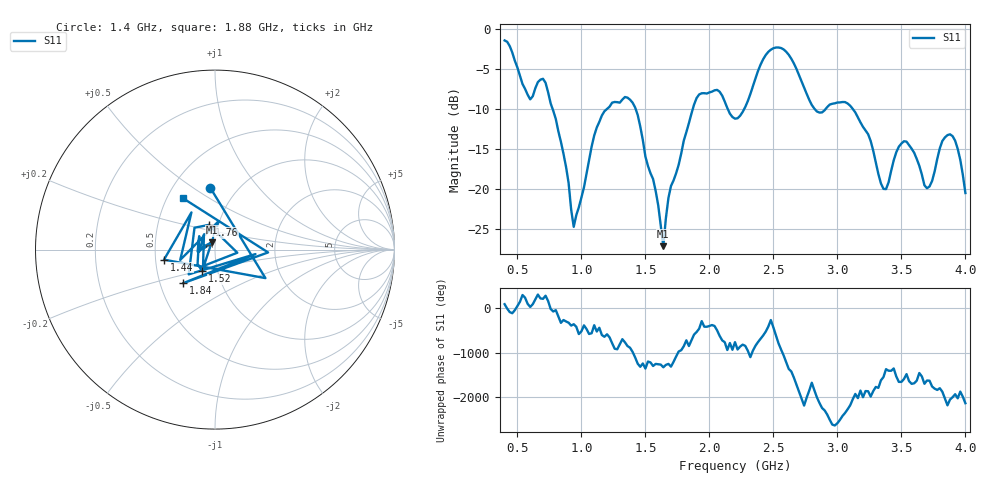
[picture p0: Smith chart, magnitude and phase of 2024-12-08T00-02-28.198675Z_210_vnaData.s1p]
!Created with skrf (http://scikit-rf.org).
# Hz S RI R 50.0
!freq ReS11 ImS11
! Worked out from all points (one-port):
!   181 points, 400 MHz to 4 GHz, reference 50 ohm
!   lowest |S11| = -27.1 dB at 1.64 GHz (marker M1), VSWR 1.09, Z = 48.3 + j3.98 ohm
!   |S11| at or under -10 dB: 774.9 MHz to 1.2 GHz (425.1 MHz wide, 43 % of centre); 1.424 GHz to 1.87 GHz (446.6 MHz wide, 27.1 % of centre); 3.12 GHz to end of sweep (the widest 3 of 5)
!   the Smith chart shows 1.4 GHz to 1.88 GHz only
!   S11 on the Smith chart (normalised r, x): 1.4 GHz: 0.75, +0.59; 1.44 GHz: 0.55, -0.07; 1.52 GHz: 0.84, -0.21; 1.76 GHz: 0.90, +0.25; 1.84 GHz: 0.66, -0.26; 1.88 GHz: 0.60, +0.39
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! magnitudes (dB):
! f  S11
! 400 MHz  -1.5
! 600 MHz  -8.8
! 720 MHz  -6.7
! 860 MHz  -15.6
! 940 MHz  -24.7
! 1.12 GHz  -12.3
! 1.3 GHz  -9.2
! 1.4 GHz  -9.2
! 1.44 GHz  -10.8
! 1.52 GHz  -17.1
! 1.64 GHz  -27.1
! 1.68 GHz  -21.1
! 1.76 GHz  -17.0
! 1.84 GHz  -11.8
! 1.88 GHz  -9.5
! 2.06 GHz  -7.6
! 2.2 GHz  -11.2
! 2.46 GHz  -2.9
! 2.66 GHz  -4.3
! 2.84 GHz  -10.3
! 3.1 GHz  -9.6
! 3.24 GHz  -13.1
! 3.36 GHz  -20.0
! 3.56 GHz  -14.5
! 3.7 GHz  -19.9
! 3.82 GHz  -14.0
! 3.9 GHz  -13.4
! 4 GHz  -20.5
